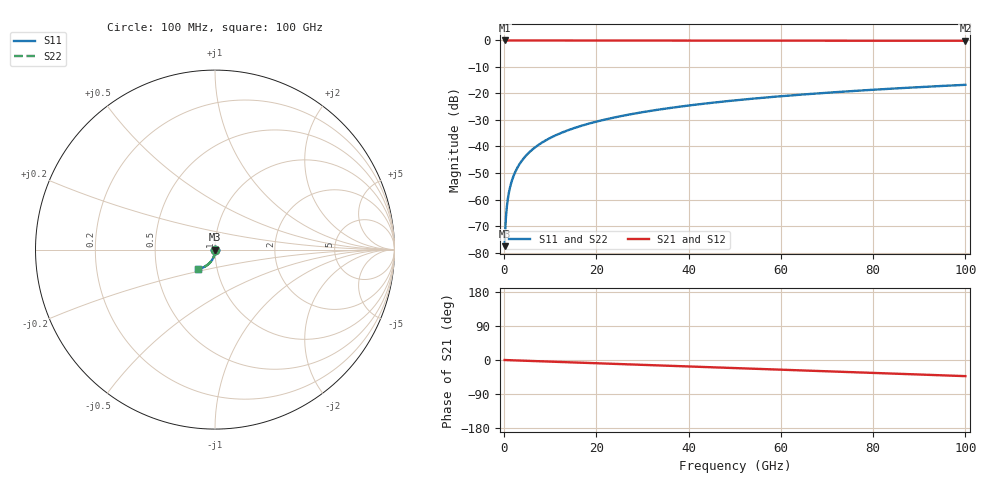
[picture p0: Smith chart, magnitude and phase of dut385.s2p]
! Touchstone file exported from HFSS 2026.1.0
!  File:  C:/ffzhzh/LocalFiles/Ansys_Project_Files/temp_train_TSV_385_1783510589_41296.aedt
!  Generated:  07:37:38 PM Jul  8, 2026
!  Design:  TSV
!  Project:  temp_train_TSV_385_1783510589_41296
! Variables:
!  h_bsmrdl = 2um
!  h_ox = 20um
!  h_rdl = 5um
!  h_sub = 85.38um
!  h_tmrdl = 5um
!  h_tsv = 85.38um
!  h_via = 3um
!  l_bsmrdl = 300um
!  l_sub = 428.12um
!  l_tmrdl = 200um
!  m_sub = 200um
!  pitch = 46.72um
!  r_tsv = 14.06um
!  s_tmrdl = 10um
!  w_bsmrdl = 18um
!  w_sub = 500um
!  w_tmrdl = 12um
!  x_tsv_center1 = 206um
!  x_tsv_center2 = 524um
!  x_tsv_center3 = 736um
!  x_tsv_center4 = 1054um
!  x_tsv_center5 = 1266um
!  x_tsv_center6 = 1584um
# GHz S MA R 50.000000
! Terminal data exported
! Port[1] = TSV1_1_T1
! Port[2] = TSV1_1_T2
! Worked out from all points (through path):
!   1000 points, 100 MHz to 100 GHz, reference 50 ohm
!   highest |S21| = 0.00 dB at 100 MHz (marker M1); lowest = -0.1 dB at 100 GHz (marker M2)
!   group delay of S21, straight-line fit = 1.18 ps
!   lowest |S11| = -77.6 dB at 100 MHz (marker M3), VSWR 1.00, Z = 50 - j0.0102 ohm
!   |S11| at or under -10 dB: start of sweep to end of sweep
!   |S22| runs from -77.6 to -16.7 dB; largest |S21 - S12| = 2.7e-15
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0.1  0.0001319 -50.7  0.9999 -0.0  0.9999 -0.0  0.0001319 -50.7
! Gamma 0 0 0 0
! Port Impedance 50 0 50 0
0.4  0.0004753 -72.1  0.9999 -0.2  0.9999 -0.2  0.0004753 -72.1
0.7  0.0008832 -76.6  0.9998 -0.3  0.9998 -0.3  0.0008832 -76.6
0.8  0.001023 -77.7  0.9998 -0.4  0.9998 -0.4  0.001023 -77.7
1  0.001305 -79.4  0.9997 -0.4  0.9997 -0.4  0.001305 -79.4
1.3  0.001731 -81.2  0.9997 -0.6  0.9997 -0.6  0.001731 -81.2
1.7  0.0023 -82.7  0.9997 -0.7  0.9997 -0.7  0.0023 -82.7
2.3  0.00316 -84.3  0.9996 -1.0  0.9996 -1.0  0.00316 -84.3
3  0.004173 -85.4  0.9996 -1.3  0.9996 -1.3  0.004173 -85.4
3.8  0.005342 -86.5  0.9995 -1.6  0.9995 -1.6  0.005342 -86.5
4.8  0.006812 -87.5  0.9994 -2.1  0.9994 -2.1  0.006812 -87.5
5.9  0.008435 -88.4  0.9994 -2.5  0.9994 -2.5  0.008435 -88.5
8.7  0.01258 -90.4  0.9992 -3.7  0.9992 -3.7  0.01258 -90.4
12.3  0.01795 -92.4  0.999 -5.3  0.999 -5.3  0.01795 -92.5
16.8  0.02467 -94.8  0.9987 -7.2  0.9987 -7.2  0.02467 -94.8
24.2  0.03573 -98.3  0.9981 -10.3  0.9981 -10.3  0.03573 -98.4
33.4  0.04946 -102.6  0.9973 -14.2  0.9973 -14.2  0.04946 -102.6
41.2  0.06106 -106.1  0.9965 -17.6  0.9965 -17.6  0.06105 -106.1
50.1  0.07421 -110.0  0.9954 -21.3  0.9954 -21.3  0.07421 -110.0
66.7  0.09847 -117.3  0.9929 -28.4  0.9929 -28.4  0.09847 -117.3
83.4  0.1224 -124.5  0.9899 -35.5  0.9899 -35.5  0.1224 -124.5
100  0.1457 -131.8  0.9862 -42.6  0.9862 -42.6  0.1457 -131.8
